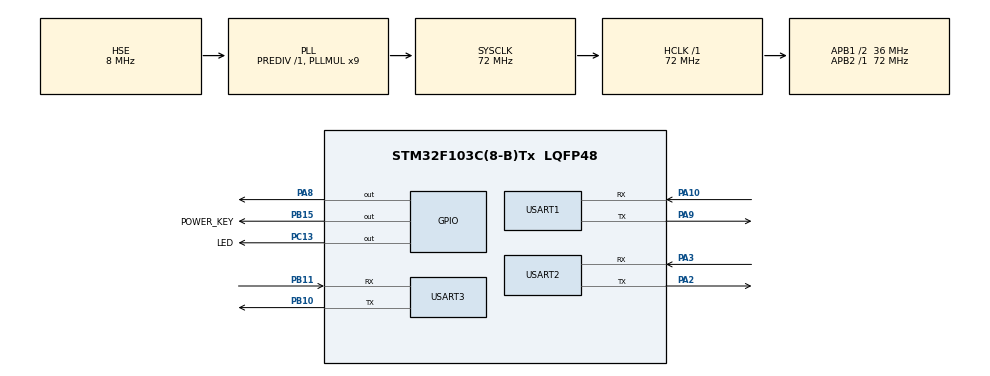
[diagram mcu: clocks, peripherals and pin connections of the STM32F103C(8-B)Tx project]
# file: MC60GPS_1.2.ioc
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Mcu.Family=STM32F1
Mcu.Name=STM32F103C(8-B)Tx
Mcu.Package=LQFP48
NVIC.PriorityGroup=NVIC_PRIORITYGROUP_4
NVIC.USART1_IRQn=true\:0\:0\:false\:false\:true\:true\:true\:true
NVIC.USART2_IRQn=true\:0\:0\:false\:false\:true\:true\:true\:true
NVIC.USART3_IRQn=true\:0\:0\:false\:false\:true\:true\:true\:true
PA10.Mode=Asynchronous
PA10.Signal=USART1_RX
PA13.Mode=Trace_Asynchronous_SW
PA13.Signal=SYS_JTMS-SWDIO
PA14.Mode=Trace_Asynchronous_SW
PA14.Signal=SYS_JTCK-SWCLK
PA2.Mode=Asynchronous
PA2.Signal=USART2_TX
PA3.Mode=Asynchronous
PA3.Signal=USART2_RX
PA8.GPIO_Speed=GPIO_SPEED_FREQ_HIGH
PA8.PinState=GPIO_PIN_SET
PA8.Signal=GPIO_Output
PA9.Mode=Asynchronous
PA9.Signal=USART1_TX
PB10.Mode=Asynchronous
PB10.Signal=USART3_TX
PB11.Mode=Asynchronous
PB11.Signal=USART3_RX
PB15.GPIO_Label=POWER_KEY
PB15.Signal=GPIO_Output
PB3.Mode=Trace_Asynchronous_SW
PB3.Signal=SYS_JTDO-TRACESWO
PC13-TAMPER-RTC.GPIO_Label=LED
PC13-TAMPER-RTC.Signal=GPIO_Output
PC14-OSC32_IN.Mode=LSE-External-Oscillator
PC14-OSC32_IN.Signal=RCC_OSC32_IN
PC15-OSC32_OUT.Mode=LSE-External-Oscillator
PC15-OSC32_OUT.Signal=RCC_OSC32_OUT
PD0-OSC_IN.Mode=HSE-External-Oscillator
PD0-OSC_IN.Signal=RCC_OSC_IN
PD1-OSC_OUT.Mode=HSE-External-Oscillator
PD1-OSC_OUT.Signal=RCC_OSC_OUT
ProjectManager.HeapSize=0x200
ProjectManager.StackSize=0x400
ProjectManager.TargetToolchain=STM32CubeIDE
RCC.AHBFreq_Value=72000000
RCC.APB1CLKDivider=RCC_HCLK_DIV2
RCC.APB1Freq_Value=36000000
RCC.APB1TimFreq_Value=72000000
RCC.APB2Freq_Value=72000000
RCC.APB2TimFreq_Value=72000000
RCC.HCLKFreq_Value=72000000
RCC.PLLMUL=RCC_PLL_MUL9
RCC.PLLSourceVirtual=RCC_PLLSOURCE_HSE
RCC.SYSCLKFreq_VALUE=72000000
RCC.SYSCLKSource=RCC_SYSCLKSOURCE_PLLCLK
RCC.USBFreq_Value=72000000
USART1.VirtualMode=VM_ASYNC
USART2.VirtualMode=VM_ASYNC
USART3.VirtualMode=VM_ASYNC
board=custom

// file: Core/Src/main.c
/* USER CODE BEGIN Header */
/**
  ******************************************************************************
  * @file           : main.c
  * @brief          : Main program body
  ******************************************************************************
  * @attention
  *
  * Copyright (c) 2025 STMicroelectronics.
  * All rights reserved.
  *
  * This software is licensed under terms that can be found in the LICENSE file
  * in the root directory of this software component.
  * If no LICENSE file comes with this software, it is provided AS-IS.
  *
  ******************************************************************************
  */
/* USER CODE END Header */
#include "main.h"
#include "usart.h"
#include "gpio.h"

/* USER CODE BEGIN Includes */
#include <stdlib.h>
#include <string.h>
#include <stdio.h>
#include <assert.h>
#include "stm32f1xx_hal.h"
#include "../../Systick/systick.h"
#include "../../GSM/gsm.h"
/* USER CODE END Includes */

/* USER CODE BEGIN PTD */

GSMModuleState gsmModuleState;
mqttObject mqttConnectionObject;
GSMModuleValue gsmvalue;

uint32_t intput_trig_time,intput_trig_time1,run_trig_time;
uint32_t First_trig=3000;
uint32_t Sec_trig=30000;

/* USER CODE END PTD */

/* USER CODE BEGIN PD */
uint8_t apn_netw[30] = {"airteliot.com"};
uint8_t apn_user[10] = {"none"};
uint8_t apn_pass[10] = {"none"};
/* USER CODE END PD */

/* USER CODE BEGIN PV */

int sent_failed_count = 0;
uint8_t tcp_connection_failed_count = 0;
uint32_t sim_disconnected = 0;
uint8_t command_failed_count = 0;
int sim_module_on_counter = 0;

unsigned char mqtt_outbound_buffer[80];
unsigned char mqtt_inbound_buffer[80];
char mqttTopicName[100];

int publish_birth_message = 0;
/* USER CODE END PV */

void SystemClock_Config(void);

/* USER CODE BEGIN 0 */
int i=0;
uint8_t imeii[17];
/* USER CODE END 0 */

int main(void)
{

  /* MCU Configuration--------------------------------------------------------*/

  /* Reset of all peripherals, Initializes the Flash interface and the Systick. */
  HAL_Init();

  /* Configure the system clock */
  SystemClock_Config();

  /* Initialize all configured peripherals */
  MX_GPIO_Init();
  MX_USART1_UART_Init();
  MX_USART2_UART_Init();
  MX_USART3_UART_Init();
  /* USER CODE BEGIN 2 */

  UART1FIFOInit();
  UART2FIFOInit();
  serialPrint("\nStarting up\r\n");
  resetSIMModule(GSM_POWER_PORT, GSM_POWER_PIN, 3000);
  SysTick_Config(SystemCoreClock / 1000);
  /* USER CODE END 2 */

  /* Infinite loop */
  while (1)
  {

    /* USER CODE BEGIN 3 */

	  run_trig_time=HAL_GetTick();
	  if (gsmModuleState == Off)
	      {
	        serialPrint("\nSIM State is Off.Initializing\r\n");
	        if (initializeSIMModule(&gsmvalue))
	        {
	          gsmModuleState = On;
	          serialPrint("\nSIM Module initilized\r\n");

	        }
	      }

	      if (gsmModuleState == On)
	      {
	        serialPrint("\nSIM module is on\r\n");
	        sim_module_on_counter++;
	        if (sim_module_on_counter > 300)
	        {
	          serialPrint("\nReseting...\r\n");
	          resetSIMModule(GSM_POWER_PORT, GSM_POWER_PIN, 3000);
	          sim_module_on_counter = 0;
	          gsmModuleState = Off;
	          sent_failed_count = 0;
	          tcp_connection_failed_count = 0;
	        }

	        if (checkSIMNetworkState())
	        { gsmModuleState = Registered;
	          if (setupTCP(&gsmvalue))
	          {
	            gsmModuleState = Registered;
	            serialPrint("\nNetwork registered\r\n");
	            setupMQTT();
//HAL_Delay(2000);

//	            if (setupTCPGET(&gsmvalue,"........................"))
//	          	          {
//	            	serialPrint("\nHTTP GET \r\n");
//	          	          }
	            //setupTCPGET
	          }
	        }
	      }

	      if (sent_failed_count > 10)
	      {
	        gsmModuleState = On;
	        sent_failed_count = 0;
	        tcp_connection_failed_count = 0;
	        serialPrint("\nGPRS Connection failed\r\n");
	      }
	      if (tcp_connection_failed_count > 20)
	      {
	        gsmModuleState = On;
	        tcp_connection_failed_count = 0;
	        sent_failed_count = 0;
	        serialPrint("\nTCP Connection failed\r\n");
	      }
	      if (gsmModuleState == Registered)
	      {
	    	  mqtt_check();
	        mqttConnectionObject.state = CONNECTED;

	        if (mqttConnectionObject.state == CONNECTED)
	        {

	        		 if(First_trig <(run_trig_time-intput_trig_time))
	        			 {
	        			 	int data_length;
	        			     uint8_t data_bucket[100];
	        			 	data_length = snprintf((char *)data_bucket, 120, "Gopaltest  %s: %d\r", imeii, i++);
	        			 	if(mqtt_pubmsg("test",(char *)data_bucket,data_length))
	        			 	{
	        			 		serialPrint("Triger 1  %d \r\n",(run_trig_time-intput_trig_time));

	        			 	}
	        			 	else
	        			 	{
	        			 		  sent_failed_count++;

	        			 	}
	        				  if(Gpscheck())
	        				  {
	        					  GPS_PRINT();
	        				  }
	        				  else
	        				  {

	        					  serialPrint("\nNot got GPS value\r\n");
	        				  }
	        				  HAL_Delay(2000);
	        			 intput_trig_time=run_trig_time;
	        			 }

	        }

	      }

  }
  /* USER CODE END 3 */
}

void SystemClock_Config(void)
{
  RCC_OscInitTypeDef RCC_OscInitStruct = {0};
  RCC_ClkInitTypeDef RCC_ClkInitStruct = {0};

  /** Initializes the RCC Oscillators according to the specified parameters
  * in the RCC_OscInitTypeDef structure.
  */
  RCC_OscInitStruct.OscillatorType = RCC_OSCILLATORTYPE_HSE;
  RCC_OscInitStruct.HSEState = RCC_HSE_ON;
  RCC_OscInitStruct.HSEPredivValue = RCC_HSE_PREDIV_DIV1;
  RCC_OscInitStruct.HSIState = RCC_HSI_ON;
  RCC_OscInitStruct.PLL.PLLState = RCC_PLL_ON;
  RCC_OscInitStruct.PLL.PLLSource = RCC_PLLSOURCE_HSE;
  RCC_OscInitStruct.PLL.PLLMUL = RCC_PLL_MUL9;
  if (HAL_RCC_OscConfig(&RCC_OscInitStruct) != HAL_OK)
  {
    Error_Handler();
  }

  /** Initializes the CPU, AHB and APB buses clocks
  */
  RCC_ClkInitStruct.ClockType = RCC_CLOCKTYPE_HCLK|RCC_CLOCKTYPE_SYSCLK
                              |RCC_CLOCKTYPE_PCLK1|RCC_CLOCKTYPE_PCLK2;
  RCC_ClkInitStruct.SYSCLKSource = RCC_SYSCLKSOURCE_PLLCLK;
  RCC_ClkInitStruct.AHBCLKDivider = RCC_SYSCLK_DIV1;
  RCC_ClkInitStruct.APB1CLKDivider = RCC_HCLK_DIV2;
  RCC_ClkInitStruct.APB2CLKDivider = RCC_HCLK_DIV1;

  if (HAL_RCC_ClockConfig(&RCC_ClkInitStruct, FLASH_LATENCY_2) != HAL_OK)
  {
    Error_Handler();
  }
}

/* USER CODE BEGIN 4 */

int serialPrint(const char *string_format, ...)
{
  if (DEVEL)
  {
    return printf(string_format);
  }
  else
  {
    return 0;
  }
}

int __io_putchar(uint8_t ch)
{
  if (ch)
  {
    UART1PutChar(ch);
    return ch;
  }
  else
  {
    return 0;
  }
}
/* USER CODE END 4 */

void Error_Handler(void)
{
  __disable_irq();
  while (1)
  {
  }
}
